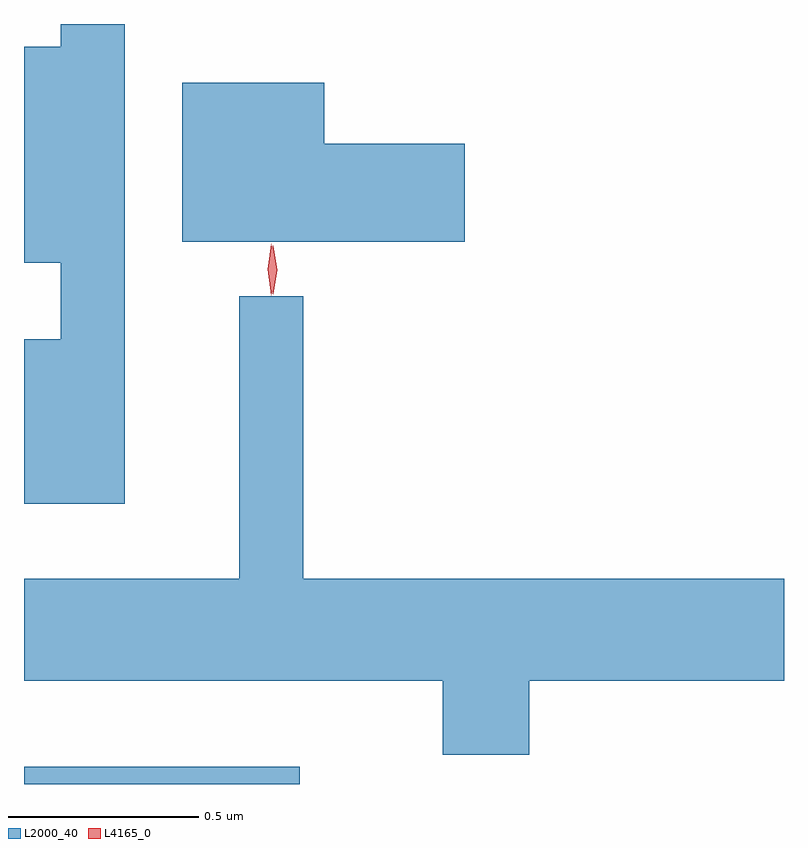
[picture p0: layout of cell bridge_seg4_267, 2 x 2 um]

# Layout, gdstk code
import gdstk
lib = gdstk.Library(unit=1e-6, precision=1e-09)
def R(c, l, rs):  # rectangles x0, y0, x1, y1
    for r in rs: c.add(gdstk.rectangle(r[:2], r[2:], *l))
def P(c, l, *ps):  # polygons
    for p in ps: c.add(gdstk.Polygon(p, *l))
L2000_40 = (2000, 40)
L4165_0 = (4165, 0)

bridge_seg4_267 = lib.new_cell('bridge_seg4_267')
R(bridge_seg4_267, L2000_40, [(761.194,1354.404,761.919,1354.449)])
P(bridge_seg4_267, L2000_40, [(761.459,1356.404),(761.291,1356.404),(761.291,1356.344),(761.194,1356.344),(761.194,1355.776),(761.291,1355.776),(761.291,1355.574),(761.194,1355.574),(761.194,1355.141),(761.459,1355.141)],
  [(762.354,1356.089),(761.984,1356.089),(761.984,1356.249),(761.611,1356.249),(761.611,1355.831),(762.354,1355.831)],
  [(762.524,1354.676),(763.194,1354.676),(763.194,1354.944),(761.929,1354.944),(761.929,1355.688),(761.761,1355.688),(761.761,1354.944),(761.194,1354.944),(761.194,1354.676),(762.296,1354.676),(762.296,1354.481),(762.524,1354.481)])
P(bridge_seg4_267, L4165_0, [(761.85,1355.693),(761.849,1355.694),(761.84,1355.756),(761.849,1355.82),(761.85,1355.82),(761.85,1355.82),(761.86,1355.756),(761.85,1355.694)],
  [(761.844,1355.69),(761.835,1355.758),(761.844,1355.825),(761.844,1355.826),(761.845,1355.825),(761.854,1355.758),(761.845,1355.69),(761.845,1355.69)])

lib.write_gds('bridge_seg4_267.gds')
